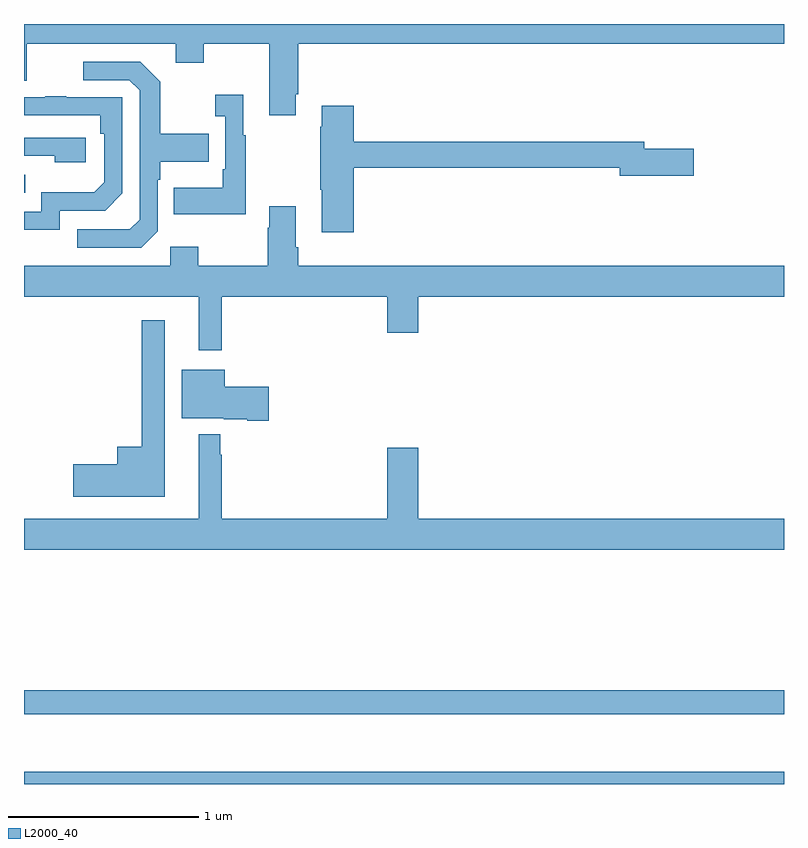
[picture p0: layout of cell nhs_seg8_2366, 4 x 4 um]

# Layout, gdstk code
import gdstk
lib = gdstk.Library(unit=1e-6, precision=1e-09)
def R(c, l, rs):  # rectangles x0, y0, x1, y1
    for r in rs: c.add(gdstk.rectangle(r[:2], r[2:], *l))
def P(c, l, *ps):  # polygons
    for p in ps: c.add(gdstk.Polygon(p, *l))
L2000_40 = (2000, 40)

nhs_seg8_2366 = lib.new_cell('nhs_seg8_2366')
R(nhs_seg8_2366, L2000_40, [(259,1149.9,263,1149.964), (259,1150.266,263,1150.394), (259,1153.011,259.007,1153.107)])
P(nhs_seg8_2366, L2000_40, [(260.431,1153.531),(260.444,1153.531),(260.444,1153.796),(263,1153.796),(263,1153.9),(259,1153.9),(259,1153.602),(259.015,1153.602),(259.015,1153.796),(259.799,1153.796),(259.799,1153.697),(259.947,1153.697),(259.947,1153.796),(260.291,1153.796),(260.291,1153.419),(260.431,1153.419)],
  [(259.704,1152.81),(259.704,1153.079),(259.717,1153.079),(259.717,1153.175),(259.973,1153.175),(259.973,1153.323),(259.717,1153.323),(259.717,1153.595),(259.611,1153.701),(259.311,1153.701),(259.311,1153.605),(259.554,1153.605),(259.608,1153.551),(259.608,1152.87),(259.557,1152.819),(259.281,1152.819),(259.281,1152.723),(259.617,1152.723)],
  [(260.166,1153.315),(260.155,1153.315),(260.155,1153.528),(260.007,1153.528),(260.007,1153.415),(260.058,1153.415),(260.058,1153.135),(260.046,1153.135),(260.046,1153.039),(259.789,1153.039),(259.789,1152.899),(260.166,1152.899)],
  [(259.188,1152.918),(259.428,1152.918),(259.518,1153.008),(259.518,1153.515),(259.223,1153.515),(259.223,1153.52),(259.111,1153.52),(259.111,1153.515),(259,1153.515),(259,1153.419),(259.402,1153.419),(259.402,1153.322),(259.422,1153.322),(259.422,1153.068),(259.369,1153.015),(259.092,1153.015),(259.092,1152.912),(259,1152.912),(259,1152.816),(259.188,1152.816)],
  [(260.735,1153.144),(262.136,1153.144),(262.136,1153.102),(262.525,1153.102),(262.525,1153.244),(262.264,1153.244),(262.264,1153.28),(260.735,1153.28),(260.735,1153.471),(260.567,1153.471),(260.567,1153.358),(260.56,1153.358),(260.56,1153.027),(260.567,1153.027),(260.567,1152.804),(260.735,1152.804)],
  [(259.324,1153.302),(259,1153.302),(259,1153.206),(259.163,1153.206),(259.163,1153.172),(259.324,1153.172)],
  [(260.041,1152.464),(260.912,1152.464),(260.912,1152.276),(261.076,1152.276),(261.076,1152.464),(263,1152.464),(263,1152.628),(260.444,1152.628),(260.444,1152.724),(260.431,1152.724),(260.431,1152.94),(260.291,1152.94),(260.291,1152.827),(260.284,1152.827),(260.284,1152.628),(259.916,1152.628),(259.916,1152.727),(259.77,1152.727),(259.77,1152.628),(259,1152.628),(259,1152.464),(259.919,1152.464),(259.919,1152.183),(260.041,1152.183)],
  [(259.741,1152.34),(259.62,1152.34),(259.62,1151.674),(259.49,1151.674),(259.49,1151.582),(259.26,1151.582),(259.26,1151.411),(259.741,1151.411)],
  [(260.287,1151.991),(260.056,1151.991),(260.056,1152.079),(259.829,1152.079),(259.829,1151.825),(260.052,1151.825),(260.052,1151.819),(260.174,1151.819),(260.174,1151.813),(260.287,1151.813)],
  [(263,1151.296),(261.076,1151.296),(261.076,1151.671),(260.912,1151.671),(260.912,1151.296),(260.041,1151.296),(260.041,1151.633),(260.033,1151.633),(260.033,1151.74),(259.919,1151.74),(259.919,1151.296),(259,1151.296),(259,1151.132),(263,1151.132)])

lib.write_gds('nhs_seg8_2366.gds')
